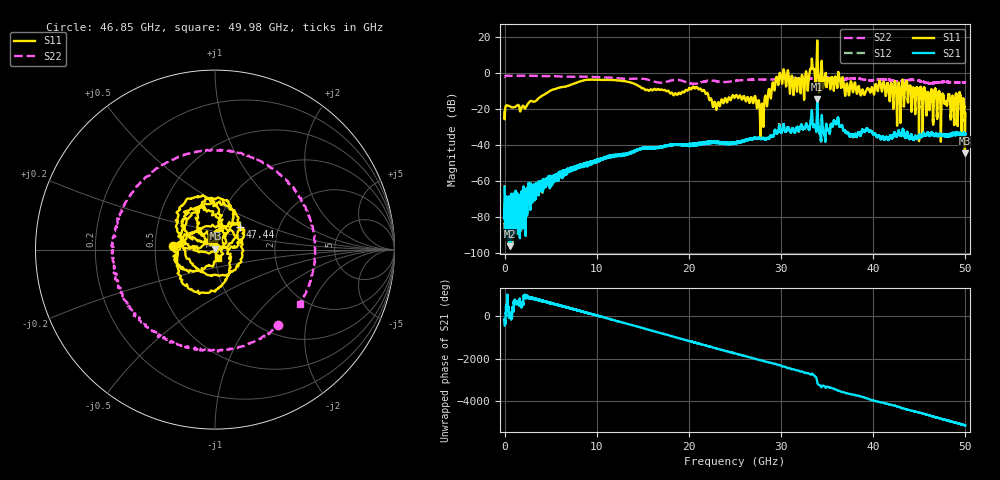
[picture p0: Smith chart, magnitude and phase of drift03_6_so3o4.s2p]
!Created with skrf (http://scikit-rf.org).
# Hz S RI R 50.0
!freq ReS11 ImS11 ReS21 ImS21 ReS12 ImS12 ReS22 ImS22
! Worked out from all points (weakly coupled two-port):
!   10001 points, 300 kHz to 50 GHz, reference 50 ohm
!   highest |S21| = -14.45 dB at 33.92 GHz (marker M1); lowest = -96.3 dB at 600.3 MHz (marker M2)
!   lowest |S11| = -44.7 dB at 49.95 GHz (marker M3), VSWR 1.01, Z = 50.3 + j0.526 ohm
!   |S11| at or under -10 dB: start of sweep to 4.849 GHz; 21.69 GHz to 28.62 GHz (6.933 GHz wide, 27.6 % of centre); 47.15 GHz to end of sweep (the widest 3 of 39)
!   |S22| runs from -5.9 to -1.3 dB; largest |S21 - S12| = 0.02
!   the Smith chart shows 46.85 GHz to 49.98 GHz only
!   S11 on the Smith chart (normalised r, x): 46.85 GHz: 0.62, +0.03; 47.44 GHz: 1.27, +0.34; 49.98 GHz: 1.03, -0.09
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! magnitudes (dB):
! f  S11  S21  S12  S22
! 300 kHz  -21.5  -63.5  -62.2  -2.1
! 600.3 MHz  -18.4  -96.3  -70.5  -1.5
! 8.335 GHz  -4.3  -51.8  -51.8  -1.9
! 16.67 GHz  -8.8  -41.5  -41.5  -5.2
! 21.01 GHz  -8.8  -39.9  -39.2  -5.5
! 22.81 GHz  -16.1  -38.4  -38.5  -4.3
! 25 GHz  -13.4  -38.8  -38.8  -4.3
! 27.02 GHz  -15.8  -36.4  -36.0  -3.5
! 27.91 GHz  -17.1  -36.4  -36.5  -3.5
! 29.69 GHz  -6.6  -32.0  -31.7  -3.1
! 32.32 GHz  -1.5  -30.5  -30.7  -3.3
! 33.34 GHz  7.4  -20.7  -21.1  -2.9
! 33.92 GHz  18.2  -14.4  -14.8  -2.5
! 36 GHz  -4.5  -28.2  -27.8  -3.5
! 37.16 GHz  -5.8  -33.4  -33.3  -3.2
! 41.67 GHz  -9.0  -36.9  -36.6  -3.7
! 46.85 GHz  -12.7  -33.5  -33.8  -5.2
! 47.44 GHz  -14.5  -34.9  -34.6  -5.0
! 49.21 GHz  -19.8  -33.7  -34.4  -5.2
! 49.95 GHz  -44.7  -33.2  -33.9  -5.0
! 49.98 GHz  -26.4  -34.0  -33.8  -5.0
! 50 GHz  -22.4  -33.6  -33.8  -4.9
